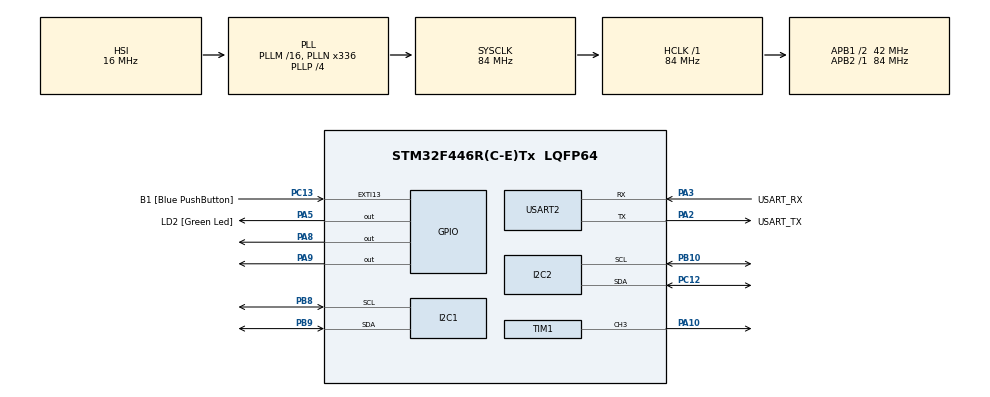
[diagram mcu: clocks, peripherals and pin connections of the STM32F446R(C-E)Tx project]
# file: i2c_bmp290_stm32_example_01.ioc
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Mcu.Family=STM32F4
Mcu.Name=STM32F446R(C-E)Tx
Mcu.Package=LQFP64
NVIC.PriorityGroup=NVIC_PRIORITYGROUP_0
PA10.Signal=S_TIM1_CH3
PA13.GPIO_Label=TMS
PA13.Mode=Serial_Wire
PA13.Signal=SYS_JTMS-SWDIO
PA14.GPIO_Label=TCK
PA14.Mode=Serial_Wire
PA14.Signal=SYS_JTCK-SWCLK
PA2.GPIO_Label=USART_TX
PA2.Mode=Asynchronous
PA2.Signal=USART2_TX
PA3.GPIO_Label=USART_RX
PA3.Mode=Asynchronous
PA3.Signal=USART2_RX
PA5.GPIO_Label=LD2 [Green Led]
PA5.Signal=GPIO_Output
PA8.Signal=GPIO_Output
PA9.Signal=GPIO_Output
PB10.Mode=I2C
PB10.Signal=I2C2_SCL
PB3.GPIO_Label=SWO
PB3.Signal=SYS_JTDO-SWO
PB8.Mode=I2C
PB8.Signal=I2C1_SCL
PB9.Mode=I2C
PB9.Signal=I2C1_SDA
PC12.Mode=I2C
PC12.Signal=I2C2_SDA
PC13.GPIO_Label=B1 [Blue PushButton]
PC13.GPIO_ModeDefaultEXTI=GPIO_MODE_IT_FALLING
PC13.Signal=GPXTI13
PC14-OSC32_IN.Mode=LSE-External-Oscillator
PC14-OSC32_IN.Signal=RCC_OSC32_IN
PC15-OSC32_OUT.Mode=LSE-External-Oscillator
PC15-OSC32_OUT.Signal=RCC_OSC32_OUT
PH0-OSC_IN.Mode=HSE-External-Oscillator
PH0-OSC_IN.Signal=RCC_OSC_IN
PH1-OSC_OUT.Mode=HSE-External-Oscillator
PH1-OSC_OUT.Signal=RCC_OSC_OUT
ProjectManager.HeapSize=0x200
ProjectManager.StackSize=0x400
ProjectManager.TargetToolchain=STM32CubeIDE
RCC.48MHZClocksFreq_Value=84000000
RCC.AHBFreq_Value=84000000
RCC.APB1CLKDivider=RCC_HCLK_DIV2
RCC.APB1Freq_Value=42000000
RCC.APB1TimFreq_Value=84000000
RCC.APB2Freq_Value=84000000
RCC.APB2TimFreq_Value=84000000
RCC.CortexFreq_Value=84000000
RCC.FLatency-AdvancedSettings=FLASH_LATENCY_2
RCC.HCLKFreq_Value=84000000
RCC.HSE_VALUE=8000000
RCC.HSI_VALUE=16000000
RCC.PLLN=336
RCC.PLLP=RCC_PLLP_DIV4
RCC.SYSCLKFreq_VALUE=84000000
RCC.SYSCLKSource=RCC_SYSCLKSOURCE_PLLCLK
RCC.USBFreq_Value=168000000
RCC.VCOOutputFreq_Value=336000000
SH.S_TIM1_CH3.0=TIM1_CH3,PWM Generation3 CH3
TIM1.Channel-PWM\ Generation3\ CH3=TIM_CHANNEL_3
TIM1.Period=999
TIM1.Prescaler=839
USART2.VirtualMode=VM_ASYNC
VP_TIM7_VS_ClockSourceINT.Mode=Enable_Timer
board=NUCLEO-F446RE

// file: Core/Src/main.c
/* USER CODE BEGIN Header */
/**
  ******************************************************************************
  * @file           : main.c
  * @brief          : Main program body
  ******************************************************************************
  * @attention
  *
  * Copyright (c) 2024 STMicroelectronics.
  * All rights reserved.
  *
  * This software is licensed under terms that can be found in the LICENSE file
  * in the root directory of this software component.
  * If no LICENSE file comes with this software, it is provided AS-IS.
  *
  ******************************************************************************
  */
/* USER CODE END Header */
#include "main.h"
#include "i2c.h"
#include "tim.h"
#include "usart.h"
#include "gpio.h"

/* USER CODE BEGIN Includes */
#include "liquidcrystal_i2c.h"
#include <stdio.h>
#include "bmp280.h"

BMP280_HandleTypedef bmp280;

float pressure, temperature, humidity;

uint16_t size;
uint8_t Data[256];
/* USER CODE END Includes */

void SystemClock_Config(void);

/* USER CODE BEGIN 0 */
void Set_PWM_Duty_Cycle(uint32_t pwm_value)
{
    // Set the PWM compare value directly
    __HAL_TIM_SET_COMPARE(&htim1, TIM_CHANNEL_3, pwm_value);
}
/* USER CODE END 0 */

int main(void)
{

  /* MCU Configuration--------------------------------------------------------*/

  /* Reset of all peripherals, Initializes the Flash interface and the Systick. */
  HAL_Init();

  /* Configure the system clock */
  SystemClock_Config();

  /* Initialize all configured peripherals */
  MX_GPIO_Init();
  MX_I2C1_Init();
  MX_USART2_UART_Init();
  MX_I2C2_Init();
  MX_TIM7_Init();
  MX_TIM1_Init();
  /* USER CODE BEGIN 2 */
  HD44780_Init(2);
  HD44780_Clear();
  HD44780_SetCursor(0,0);

  bmp280_init_default_params(&bmp280.params);
  bmp280.addr = BMP280_I2C_ADDRESS_0;
  bmp280.i2c = &hi2c1;

  HAL_TIM_Base_Start(&htim7);
  HAL_TIM_PWM_Start(&htim1, TIM_CHANNEL_3);

  void TIM7_Delay(uint32_t ms)
  {
      for (uint32_t i = 0; i < ms; i++)
      {
          __HAL_TIM_SET_COUNTER(&htim7, 0);
          while (__HAL_TIM_GET_COUNTER(&htim7) < 6)
          {
          }
      }
  }

  while (!bmp280_init(&bmp280, &bmp280.params))
  {
      size = sprintf((char *)Data, "BMP280 initialization failed\n");
      HAL_UART_Transmit(&huart2, Data, size, 1000);
      HAL_Delay(2000);
  }

  bool bme280p = bmp280.id == BME280_CHIP_ID;
  size = sprintf((char *)Data, "BMP280: found %s\r\n", bme280p ? "BME280" : "BMP280");
  HAL_UART_Transmit(&huart2, Data, size, 1000);

  TIM1->CCR1 = 0;

  // Initialize the GPIO pin (PA8)
  GPIO_InitTypeDef GPIO_InitStruct = {0};
  __HAL_RCC_GPIOA_CLK_ENABLE();  // Enable GPIOA clock

  // PA8 configuration
  GPIO_InitStruct.Pin = GPIO_PIN_8;
  GPIO_InitStruct.Mode = GPIO_MODE_OUTPUT_PP;
  GPIO_InitStruct.Pull = GPIO_NOPULL;
  GPIO_InitStruct.Speed = GPIO_SPEED_FREQ_LOW;
  HAL_GPIO_Init(GPIOA, &GPIO_InitStruct);

  // PA9 configuration
  GPIO_InitStruct.Pin = GPIO_PIN_9;
  GPIO_InitStruct.Mode = GPIO_MODE_OUTPUT_PP;
  GPIO_InitStruct.Pull = GPIO_NOPULL;
  GPIO_InitStruct.Speed = GPIO_SPEED_FREQ_LOW;
  HAL_GPIO_Init(GPIOA, &GPIO_InitStruct);
  /* USER CODE END 2 */

  /* Infinite loop */
  /* USER CODE BEGIN WHILE */
  while (1)
  {
	  HAL_Delay(100);
  while (!bmp280_read_float(&bmp280, &temperature, &pressure, &humidity)) {
      size = sprintf((char *)Data,
              "Temperature/pressure reading failed\r\n");
      HAL_UART_Transmit(&huart2, Data, size, 1000);
      HAL_Delay(2000);
  }

  size = sprintf((char *)Data,"Pressure: %.2f Pa, Temperature: %.2f C",
          pressure, temperature);
  HAL_UART_Transmit(&huart2, Data, size, 1000);

  HD44780_Clear();

  HD44780_SetCursor(0, 0);
  HD44780_PrintStr("Temp:");

  HD44780_SetCursor(6, 0);
  size = sprintf((char *)Data, "%.2f C", temperature);
  HD44780_PrintStr((char *)Data);

  HD44780_SetCursor(0, 1);
  HD44780_PrintStr("Humidity:");

  HD44780_SetCursor(10, 1);
  size = sprintf((char *)Data, "%.2f%%", humidity);
  HD44780_PrintStr((char *)Data);

  uint32_t pwm_value = 0;
          if (temperature > 30.0f)
          {
              pwm_value = 1000;
              HAL_GPIO_WritePin(GPIOA, GPIO_PIN_9, GPIO_PIN_RESET);
          }
          else if (temperature >= 27.0f && temperature <= 30.0f)
          {
              pwm_value = 500;
              HAL_GPIO_WritePin(GPIOA, GPIO_PIN_9, GPIO_PIN_RESET);
          }
          else
          {
              pwm_value = 0;
              HAL_GPIO_WritePin(GPIOA, GPIO_PIN_9, GPIO_PIN_SET);
          }
          Set_PWM_Duty_Cycle(pwm_value);

          TIM7_Delay(5000);
      }
    /* USER CODE END WHILE */

  }

void SystemClock_Config(void)
{
  RCC_OscInitTypeDef RCC_OscInitStruct = {0};
  RCC_ClkInitTypeDef RCC_ClkInitStruct = {0};

  /** Configure the main internal regulator output voltage
  */
  __HAL_RCC_PWR_CLK_ENABLE();
  __HAL_PWR_VOLTAGESCALING_CONFIG(PWR_REGULATOR_VOLTAGE_SCALE3);

  /** Initializes the RCC Oscillators according to the specified parameters
  * in the RCC_OscInitTypeDef structure.
  */
  RCC_OscInitStruct.OscillatorType = RCC_OSCILLATORTYPE_HSI;
  RCC_OscInitStruct.HSIState = RCC_HSI_ON;
  RCC_OscInitStruct.HSICalibrationValue = RCC_HSICALIBRATION_DEFAULT;
  RCC_OscInitStruct.PLL.PLLState = RCC_PLL_ON;
  RCC_OscInitStruct.PLL.PLLSource = RCC_PLLSOURCE_HSI;
  RCC_OscInitStruct.PLL.PLLM = 16;
  RCC_OscInitStruct.PLL.PLLN = 336;
  RCC_OscInitStruct.PLL.PLLP = RCC_PLLP_DIV4;
  RCC_OscInitStruct.PLL.PLLQ = 2;
  RCC_OscInitStruct.PLL.PLLR = 2;
  if (HAL_RCC_OscConfig(&RCC_OscInitStruct) != HAL_OK)
  {
    Error_Handler();
  }

  /** Initializes the CPU, AHB and APB buses clocks
  */
  RCC_ClkInitStruct.ClockType = RCC_CLOCKTYPE_HCLK|RCC_CLOCKTYPE_SYSCLK
                              |RCC_CLOCKTYPE_PCLK1|RCC_CLOCKTYPE_PCLK2;
  RCC_ClkInitStruct.SYSCLKSource = RCC_SYSCLKSOURCE_PLLCLK;
  RCC_ClkInitStruct.AHBCLKDivider = RCC_SYSCLK_DIV1;
  RCC_ClkInitStruct.APB1CLKDivider = RCC_HCLK_DIV2;
  RCC_ClkInitStruct.APB2CLKDivider = RCC_HCLK_DIV1;

  if (HAL_RCC_ClockConfig(&RCC_ClkInitStruct, FLASH_LATENCY_2) != HAL_OK)
  {
    Error_Handler();
  }
}

void Error_Handler(void)
{
  __disable_irq();
  while (1)
  {
  }
}
